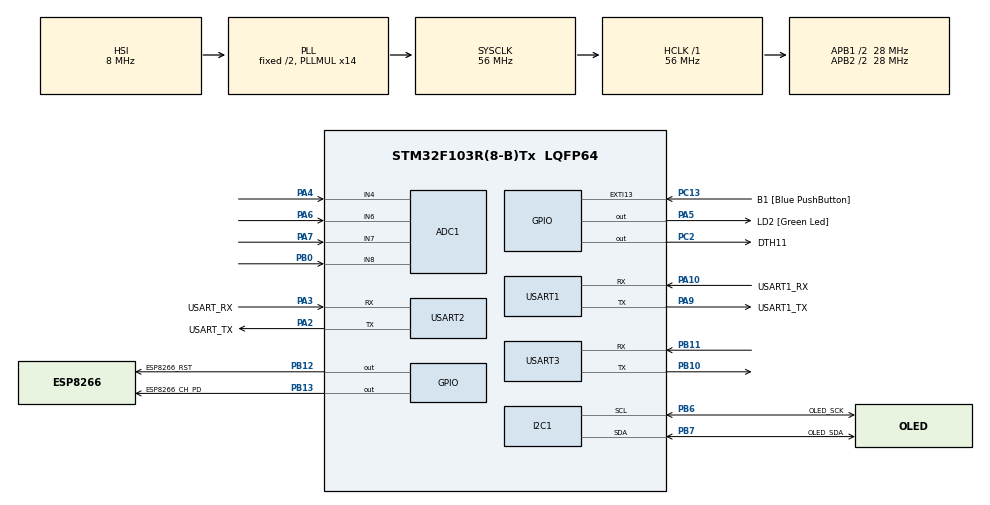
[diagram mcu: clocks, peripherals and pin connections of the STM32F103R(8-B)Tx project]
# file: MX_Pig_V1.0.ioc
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ADC1.Channel-0\#ChannelRegularConversion=ADC_CHANNEL_4
ADC1.Channel-6\#ChannelRegularConversion=ADC_CHANNEL_6
ADC1.Channel-7\#ChannelRegularConversion=ADC_CHANNEL_7
ADC1.Channel-8\#ChannelRegularConversion=ADC_CHANNEL_8
ADC1.Channel-9\#ChannelRegularConversion=ADC_CHANNEL_VREFINT
ADC1.DiscontinuousConvMode=ENABLE
ADC1.NbrOfConversion=5
ADC1.NbrOfConversionFlag=1
ADC1.Rank-6\#ChannelRegularConversion=2
ADC1.Rank-7\#ChannelRegularConversion=3
ADC1.Rank-8\#ChannelRegularConversion=4
ADC1.Rank-9\#ChannelRegularConversion=5
ADC1.SamplingTime-0\#ChannelRegularConversion=ADC_SAMPLETIME_71CYCLES_5
ADC1.SamplingTime-6\#ChannelRegularConversion=ADC_SAMPLETIME_71CYCLES_5
ADC1.SamplingTime-7\#ChannelRegularConversion=ADC_SAMPLETIME_71CYCLES_5
ADC1.SamplingTime-8\#ChannelRegularConversion=ADC_SAMPLETIME_71CYCLES_5
ADC1.SamplingTime-9\#ChannelRegularConversion=ADC_SAMPLETIME_71CYCLES_5
ADC1.master=1
Dma.ADC1.0.Direction=DMA_PERIPH_TO_MEMORY
Dma.ADC1.0.Instance=DMA1_Channel1
Dma.ADC1.0.MemDataAlignment=DMA_MDATAALIGN_HALFWORD
Dma.ADC1.0.MemInc=DMA_MINC_ENABLE
Dma.ADC1.0.Mode=DMA_CIRCULAR
Dma.ADC1.0.PeriphDataAlignment=DMA_PDATAALIGN_HALFWORD
Dma.ADC1.0.PeriphInc=DMA_PINC_DISABLE
Dma.ADC1.0.Priority=DMA_PRIORITY_HIGH
Dma.Request0=ADC1
FREERTOS.MEMORY_ALLOCATION=0
FREERTOS.Tasks01=Null_Task,-2,128,Null_Test_Task,Default,NULL,Dynamic,NULL,NULL
FREERTOS.configMAX_PRIORITIES=18
FREERTOS.configTOTAL_HEAP_SIZE=10240
Mcu.Family=STM32F1
Mcu.Name=STM32F103R(8-B)Tx
Mcu.Package=LQFP64
NVIC.ADC1_2_IRQn=true\:5\:0\:true\:false\:true\:true\:true\:true
NVIC.DMA1_Channel1_IRQn=true\:6\:0\:true\:false\:true\:true\:false\:true
NVIC.EXTI15_10_IRQn=true\:12\:0\:true\:false\:true\:true\:true\:true
NVIC.PriorityGroup=NVIC_PRIORITYGROUP_4
NVIC.TIM1_UP_IRQn=true\:0\:0\:false\:false\:true\:false\:false\:true
NVIC.TIM3_IRQn=true\:5\:0\:false\:false\:true\:true\:true\:true
NVIC.TimeBase=TIM1_UP_IRQn
NVIC.TimeBaseIP=TIM1
NVIC.USART1_IRQn=true\:7\:0\:true\:false\:true\:true\:true\:true
PA10.GPIO_Label=USART1_RX
PA10.Mode=Asynchronous
PA10.Signal=USART1_RX
PA13.GPIO_Label=TMS
PA13.Mode=Serial_Wire
PA13.Signal=SYS_JTMS-SWDIO
PA14.GPIO_Label=TCK
PA14.Mode=Serial_Wire
PA14.Signal=SYS_JTCK-SWCLK
PA2.GPIO_Label=USART_TX
PA2.GPIO_Mode=GPIO_MODE_AF_PP
PA2.GPIO_PuPd=GPIO_NOPULL
PA2.GPIO_Speed=GPIO_SPEED_FREQ_LOW
PA2.Mode=Asynchronous
PA2.Signal=USART2_TX
PA3.GPIO_Label=USART_RX
PA3.GPIO_Mode=GPIO_MODE_AF_PP
PA3.GPIO_PuPd=GPIO_NOPULL
PA3.GPIO_Speed=GPIO_SPEED_FREQ_LOW
PA3.Mode=Asynchronous
PA3.Signal=USART2_RX
PA4.GPIO_Mode=GPIO_MODE_ANALOG
PA4.Signal=ADCx_IN4
PA5.GPIO_Label=LD2 [Green Led]
PA5.GPIO_ModeDefaultOutputPP=GPIO_MODE_OUTPUT_PP
PA5.GPIO_PuPd=GPIO_NOPULL
PA5.GPIO_Speed=GPIO_SPEED_FREQ_LOW
PA5.Signal=GPIO_Output
PA6.GPIO_Mode=GPIO_MODE_ANALOG
PA6.Signal=ADCx_IN6
PA7.GPIO_Mode=GPIO_MODE_ANALOG
PA7.Signal=ADCx_IN7
PA9.GPIO_Label=USART1_TX
PA9.Mode=Asynchronous
PA9.Signal=USART1_TX
PB0.GPIO_Mode=GPIO_MODE_ANALOG
PB0.Signal=ADCx_IN8
PB10.Mode=Asynchronous
PB10.Signal=USART3_TX
PB11.Mode=Asynchronous
PB11.Signal=USART3_RX
PB12.GPIO_Label=ESP8266_RST
PB12.GPIO_PuPd=GPIO_NOPULL
PB12.GPIO_Speed=GPIO_SPEED_FREQ_MEDIUM
PB12.Signal=GPIO_Output
PB13.GPIO_Label=ESP8266_CH_PD
PB13.GPIO_Speed=GPIO_SPEED_FREQ_MEDIUM
PB13.Signal=GPIO_Output
PB3.GPIO_Label=SWO
PB3.Signal=SYS_JTDO-TRACESWO
PB6.GPIO_Label=OLED_SCK
PB6.Mode=I2C
PB6.Signal=I2C1_SCL
PB7.GPIO_Label=OLED_SDA
PB7.Mode=I2C
PB7.Signal=I2C1_SDA
PC13-TAMPER-RTC.GPIO_Label=B1 [Blue PushButton]
PC13-TAMPER-RTC.GPIO_PuPd=GPIO_NOPULL
PC13-TAMPER-RTC.Signal=GPXTI13
PC14-OSC32_IN.Mode=LSE-External-Oscillator
PC14-OSC32_IN.Signal=RCC_OSC32_IN
PC15-OSC32_OUT.Mode=LSE-External-Oscillator
PC15-OSC32_OUT.Signal=RCC_OSC32_OUT
PC2.GPIO_Label=DTH11
PC2.GPIO_Speed=GPIO_SPEED_FREQ_HIGH
PC2.Signal=GPIO_Output
PD0-OSC_IN.Mode=HSE-External-Clock-Source
PD0-OSC_IN.Signal=RCC_OSC_IN
PD1-OSC_OUT.Mode=HSE-External-Clock-Source
PD1-OSC_OUT.Signal=RCC_OSC_OUT
ProjectManager.HeapSize=0x200
ProjectManager.StackSize=0x400
ProjectManager.TargetToolchain=MDK-ARM V5.27
RCC.AHBFreq_Value=56000000
RCC.APB1CLKDivider=RCC_HCLK_DIV2
RCC.APB1Freq_Value=28000000
RCC.APB1TimFreq_Value=56000000
RCC.APB2CLKDivider=RCC_HCLK_DIV2
RCC.APB2Freq_Value=28000000
RCC.APB2TimFreq_Value=56000000
RCC.HCLKFreq_Value=56000000
RCC.PLLMUL=RCC_PLL_MUL14
RCC.RTCClockSelection=RCC_RTCCLKSOURCE_LSE
RCC.SYSCLKFreq_VALUE=56000000
RCC.SYSCLKSource=RCC_SYSCLKSOURCE_PLLCLK
RCC.USBFreq_Value=56000000
SH.ADCx_IN4.0=ADC1_IN4,IN4
SH.ADCx_IN6.0=ADC1_IN6,IN6
SH.ADCx_IN7.0=ADC1_IN7,IN7
SH.ADCx_IN8.0=ADC1_IN8,IN8
TIM3.Period=100-1
TIM3.Prescaler=3600-1
USART1.VirtualMode=VM_ASYNC
USART2.VirtualMode=VM_ASYNC
USART3.VirtualMode=VM_ASYNC
VP_ADC1_Vref_Input.Mode=IN-Vrefint
VP_FREERTOS_VS_CMSIS_V1.Mode=CMSIS_V1
VP_SYS_VS_tim1.Mode=TIM1
VP_TIM3_VS_ClockSourceINT.Mode=Internal
board=NUCLEO-F103RB

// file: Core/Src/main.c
/* USER CODE BEGIN Header */
/**
  ******************************************************************************
  * @file           : main.c
  * @brief          : Main program body
  ******************************************************************************
  * @attention
  *
  * <h2><center>&copy; Copyright (c) 2022 STMicroelectronics.
  * All rights reserved.</center></h2>
  *
  * This software component is licensed by ST under Ultimate Liberty license
  * SLA0044, the "License"; You may not use this file except in compliance with
  * the License. You may obtain a copy of the License at:
  *                             www.st.com/SLA0044
  *
  ******************************************************************************
  */
/* USER CODE END Header */
#include "main.h"
#include "cmsis_os.h"
#include "adc.h"
#include "dma.h"
#include "i2c.h"
#include "tim.h"
#include "usart.h"
#include "gpio.h"

/* USER CODE BEGIN Includes */

/* Hardware-related header files */

/* Includes redirection for serial port 3 and imitation redirection functions for serial port 1  */
#include "UART_Printf.h"
/* ADC initialization and single scan operation */
#include "ADC_Operation.h"
/* Including ESP8266 initialization and AT-TCP, AT-MQTT instruction send and receive operation functions */
#include "ESP8266.h"
/* This includes the use of hardware IIC to connect the OLED screen for initialization, display characters, and string functions */
#include "OLED.h"
/* Through software operation GPIO and DTH11 for single-bus communication, initialization, data reading, etc */
#include "DTH11.h"
/* Control the buzzer tick and LED2 blink */
#include "BUZZER.h"

/* Header files associated with tasks and task operations */

/* OLED displays the value obtained by the sensor in real time */
#include "Display_Data_Task.h"
/* Obtain internal reference voltage and gas concentration collected by ADC and temperature and humidity data collected by DTH11 */
#include "Get_Sensor_Task.h"
/* Connect to Ali Cloud Iot platform by operating ESP8266 via AT command */
#include "Connect_Iot_Task.h"

/* USER CODE END Includes */

/* USER CODE BEGIN PM */

/*
	Select whether to use external modules : Used during program debugging
	Make sure there is no problem with the external circuit and components, all one
*/
#define USE_ESP8266 	1
#define USE_OLED     	1
#define USE_DTH11     	0

/* USER CODE END PM */

/* USER CODE BEGIN PV */

/* Whether the device is successfully connected to alibaba Cloud Iot platform: it is determined that
   the device is operated independently and the data is displayed locally; Or upload the data to the cloud
*/
uint8_t is_connect_iot = 0;

/* USER CODE END PV */

void SystemClock_Config(void);
void MX_FREERTOS_Init(void);

int main(void)
{
  /* USER CODE BEGIN 1 */
	uint8_t ret = (uint8_t)OPERATION_SUCCESS;
  /* USER CODE END 1 */

  /* MCU Configuration--------------------------------------------------------*/

  /* Reset of all peripherals, Initializes the Flash interface and the Systick. */
  HAL_Init();

  /* Configure the system clock */
  SystemClock_Config();

  /* Initialize all configured peripherals */
  MX_GPIO_Init();
  MX_DMA_Init();
  MX_USART2_UART_Init();
  MX_USART1_UART_Init();
  MX_USART3_UART_Init();
  MX_ADC1_Init();
  MX_TIM3_Init();
  MX_I2C1_Init();
  /* USER CODE BEGIN 2 */

  /*-----------------------Initialization of chip peripherals and basic functions - start--------------------------*/

  /* Operations related to peripherals after initialization  */
  ret = BSP_Init();
  if(ret!=(int32_t)OPERATION_SUCCESS)
  {
	  Display_Operation_Status("BSP init :" ,ret);
  }
  Display_Operation_Status("BSP init :" ,ret);
  HAL_Delay(1000);
  OLED_CLS();

  OLED_ShowStr(20, 0, "start connect iot", 1);
  OLED_ShowStr(2, 2, "please wait 10s", 1);

  ret = Connct_aliyun_iot();
  if(ret!=(int32_t)OPERATION_SUCCESS)
  {
	  Display_Operation_Status("Connect iot platform :" ,ret);
  }
  /* If the connection to the cloud platform is successful, start the online mode */
  if(ret==(int32_t)OPERATION_SUCCESS)is_connect_iot = 1;

  Display_Operation_Status("Connect iot platform :" ,ret);
  HAL_Delay(1000);
  OLED_CLS();

  OLED_ShowStr(2, 2, "Start single-machine mode", 1);
  HAL_Delay(1000);
  OLED_CLS();
  /*-----------------------Initialization of chip peripherals and basic functions - finish--------------------------*/
  /* USER CODE END 2 */

  /* Call init function for freertos objects (in freertos.c) */
  MX_FREERTOS_Init();
  /* Start scheduler */
  osKernelStart();

  /* We should never get here as control is now taken by the scheduler */
  /* Infinite loop */
  while (1)
  {

  }
}

void SystemClock_Config(void)
{
  RCC_OscInitTypeDef RCC_OscInitStruct = {0};
  RCC_ClkInitTypeDef RCC_ClkInitStruct = {0};
  RCC_PeriphCLKInitTypeDef PeriphClkInit = {0};

  /** Initializes the RCC Oscillators according to the specified parameters
  * in the RCC_OscInitTypeDef structure.
  */
  RCC_OscInitStruct.OscillatorType = RCC_OSCILLATORTYPE_HSI;
  RCC_OscInitStruct.HSIState = RCC_HSI_ON;
  RCC_OscInitStruct.HSICalibrationValue = RCC_HSICALIBRATION_DEFAULT;
  RCC_OscInitStruct.PLL.PLLState = RCC_PLL_ON;
  RCC_OscInitStruct.PLL.PLLSource = RCC_PLLSOURCE_HSI_DIV2;
  RCC_OscInitStruct.PLL.PLLMUL = RCC_PLL_MUL14;
  if (HAL_RCC_OscConfig(&RCC_OscInitStruct) != HAL_OK)
  {
    Error_Handler();
  }
  /** Initializes the CPU, AHB and APB buses clocks
  */
  RCC_ClkInitStruct.ClockType = RCC_CLOCKTYPE_HCLK|RCC_CLOCKTYPE_SYSCLK
                              |RCC_CLOCKTYPE_PCLK1|RCC_CLOCKTYPE_PCLK2;
  RCC_ClkInitStruct.SYSCLKSource = RCC_SYSCLKSOURCE_PLLCLK;
  RCC_ClkInitStruct.AHBCLKDivider = RCC_SYSCLK_DIV1;
  RCC_ClkInitStruct.APB1CLKDivider = RCC_HCLK_DIV2;
  RCC_ClkInitStruct.APB2CLKDivider = RCC_HCLK_DIV2;

  if (HAL_RCC_ClockConfig(&RCC_ClkInitStruct, FLASH_LATENCY_2) != HAL_OK)
  {
    Error_Handler();
  }
  PeriphClkInit.PeriphClockSelection = RCC_PERIPHCLK_ADC;
  PeriphClkInit.AdcClockSelection = RCC_ADCPCLK2_DIV2;
  if (HAL_RCCEx_PeriphCLKConfig(&PeriphClkInit) != HAL_OK)
  {
    Error_Handler();
  }
}

/* USER CODE BEGIN 4 */

/**
* @description: Operations related to peripherals after initialization
*               include:
* 				ADC calibration
*               LED Blink
*				CMD UART1_IT
*
*
* @param {void}
* @return {int} ret: if BSP init success , return OPERATION_SUCCESS
* @author: leeqingshui
*/
int32_t BSP_Init(void)
{
	static int32_t ret= (int32_t)OPERATION_SUCCESS;

	/* ----------------------------LED Operation------------------------- */
	/* Led blinks 5 times and buzzer work : BSP initialization is start */
	for(int i=0;i<10;i++)
	{
		HAL_GPIO_TogglePin(LD2_GPIO_Port,LD2_Pin);
		HAL_Delay(50);
	}
	printf("LED init success\r\n");

	#if USE_OLED
	/* ----------------------------OLED Operation----------------------- */
	/* The OLED screen is initialized */
	if (OLED_Init() != (uint8_t)OPERATION_SUCCESS)
	{
		printf("OLED init fail\r\n");
		Error_Handler();
		ret= (int32_t)OPERATION_ERROR;
	}

	printf("OLED init success\r\n");
	/* The OLED screen prompts initialization to begin */
	OLED_ShowStr(30, 0, "start BSP init", 1);
	OLED_ShowStr(5, 1, "OLED init success", 1);

	#endif

	/* ----------------------------ADC1 Operation------------------------- */

	/* Start ADC conversion on regular group with transfer by DMA */
	if ((ADC_GetGas_Init()) != (uint8_t)OPERATION_SUCCESS)
	{
		printf("ADC init fail\r\n");
		OLED_ShowStr(5, 2, "ADC init fail", 1);
		/* Start Error */
		Error_Handler();
		ret= (int32_t)OPERATION_ERROR;
	}

	printf("ADC init success\r\n");
	OLED_ShowStr(5, 2, "ADC init success", 1);

	#if USE_ESP8266
	/* ----------------------------ESP8266 Operation----------------------- */
	/* ESP8266 initialization */
	if (ESP8266_Init() != (uint8_t)OPERATION_SUCCESS)
	{
		printf("ESP8266 init fail\r\n");

		OLED_ShowStr(5, 3, "esp8266 init fail", 1);

		Error_Handler();
		ret= (int32_t)OPERATION_ERROR;
	}
	printf("ESP8266 init success\r\n");
	OLED_ShowStr(5, 3, "esp8266 init success", 1);

	#endif

	#if USE_DTH11
	/* ----------------------------DTH11 Operation----------------------- */
	if (DHT11_Init() != (uint8_t)OPERATION_SUCCESS)
	{
		printf("DTH11 init fail\r\n");
		OLED_ShowStr(5, 4, "DTH11 init fail", 1);

		Error_Handler();
		ret= (int32_t)OPERATION_ERROR;
	}
	printf("DTH11 init success\r\n");

	OLED_ShowStr(5, 4, "DTH11 init success", 1);

	#else
	DHT11_Init();
	printf("DTH11 init success\r\n");
	OLED_ShowStr(5, 4, "DTH11 init success", 1);
	OLED_CLS();

	#endif

	/*
	LED2 When the blinking interval and the buzzer work for five times, it indicates that the operation starts
	Indicates that the initialization of the peripheral is successful
	*/
	Buzzer_Work(10,(uint8_t)300);

    return ret;
}

/* USER CODE END 4 */

 /**
  * @brief  Period elapsed callback in non blocking mode
  * @note   This function is called  when TIM1 interrupt took place, inside
  * HAL_TIM_IRQHandler(). It makes a direct call to HAL_IncTick() to increment
  * a global variable "uwTick" used as application time base.
  * @param  htim : TIM handle
  * @retval None
  */
void HAL_TIM_PeriodElapsedCallback(TIM_HandleTypeDef *htim)
{
  /* USER CODE BEGIN Callback 0 */

  if (htim->Instance == TIM3)
  {

  }

  /* USER CODE END Callback 0 */
  if (htim->Instance == TIM1) {
    HAL_IncTick();
  }
}

void Error_Handler(void)
{
  /* USER CODE BEGIN Error_Handler_Debug */
  /* User can add his own implementation to report the HAL error return state */
  while (1)
  {
	  Buzzer_Work(10,(uint8_t)700);
	  Buzzer_Work(10,(uint8_t)2000);
  }
  /* USER CODE END Error_Handler_Debug */
}

/************************ (C) COPYRIGHT STMicroelectronics *****END OF FILE****/

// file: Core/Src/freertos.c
/* USER CODE BEGIN Header */
/**
  ******************************************************************************
  * File Name          : freertos.c
  * Description        : Code for freertos applications
  ******************************************************************************
  * @attention
  *
  * <h2><center>&copy; Copyright (c) 2022 STMicroelectronics.
  * All rights reserved.</center></h2>
  *
  * This software component is licensed by ST under Ultimate Liberty license
  * SLA0044, the "License"; You may not use this file except in compliance with
  * the License. You may obtain a copy of the License at:
  *                             www.st.com/SLA0044
  *
  *	This part mainly includes four tasks:
  *
  *	Sensor information collection task (Get_Sensor_Task) - Collects temperature and humidity information, ammonia concentration,
  *	hydrogen sulfide concentration, ozone concentration, and carbon monoxide concentration. The following peripherals are used:
  *	ADC.C /. H and DTH11. C /. H, and send data to Sensor_Data_Queue message queue
  *
  * OLED display task (Display_Data_Task) : Display and update the collected sensor information and network connection data on
  *	the OLED screen. The data comes from two message queues, Internet_Status_Queue and Sensor_Data_Queue. The main peripherals used
  *	include: 1.3-inch OLED display, relevant driver layer file in OLed.c /.h
  *
  *	Connect and upload cloud platform task (Connect_Iot_Task) - Use ESP8266 to send the collected data to Ali Cloud Iot platform
  *	through at-MQTT instruction. The main peripherals used include: ESP8266 WIFI module, related driver code in eps8266. c/. H,
  *	uart_printf. c/. H two files, data from Sensor_Data_Queue message queue
  *
  *	Start Task (AppTaskCreate) - Create task and message queue
  ******************************************************************************
  */
/* USER CODE END Header */

#include "FreeRTOS.h"
#include "task.h"
#include "main.h"
#include "cmsis_os.h"

/* USER CODE BEGIN Includes */
/* The basic function used by the task */
#include "Display_Data_Task.h"
#include "Get_Sensor_Task.h"
#include "Connect_Iot_Task.h"
/* USER CODE END Includes */

/* USER CODE BEGIN PM */

/* A message queue for receiving and sending sensor data */
/* Queue length: The maximum number of messages that the queue can contain */
#define  SENSOR_QUEUE_LEN    	1
/* Message size: The size of each message in the queue, and the number of bytes for the corresponding data type of the message */
#define  SENSOR_QUEUE_SIZE   	sizeof(SENSOR_Information_Struct)
/* A message queue for receiving and sending network connection status */
#define  INTERNET_QUEUE_LEN    	1
#define  INTERNET_QUEUE_SIZE   	sizeof(Internat_Connect_Information_Struct)

/* USER CODE END PM */

/* USER CODE BEGIN Variables */

/* Whether the device is successfully connected to alibaba Cloud Iot platform: it is determined that
   the device is operated independently and the data is displayed locally; Or upload the data to the cloud
*/
extern uint8_t is_connect_iot;

/*--------------------------Task handle declaration---------------------------*/

/* handle to Create tasks, and tasks for kernel objects */
osThreadId AppTaskCreate_Handle = NULL;
/* handle to Displays the data task */
osThreadId DisplayTask_TaskHandle = NULL;
/* handle to get sensor data task */
osThreadId GetSensorDataTask_TaskHandle = NULL;
/* handle to  connect iot task */
osThreadId ConnectIotTask_TaskHandle = NULL;

/*----------------------Message queue handle declaration----------------------*/

/* Handle to the gas sensor data message queue */
QueueHandle_t Sensor_Data_Queue =NULL;
/* Handle to the network status message queue */
QueueHandle_t Internet_Status_Queue =NULL;

/* USER CODE END Variables */
osThreadId Null_TaskHandle;

/* USER CODE BEGIN FunctionPrototypes */

/*----------------------------User task function------------------------------*/

/* Create tasks, and tasks for kernel objects */
static void AppTaskCreate(void);
/* connect iot task function */
extern void Connect_Iot_Task(void* parameter);
/* get sensor data task function */
extern void Get_Sensor_Task(void* parameter);
/* Displays the data task function */
extern void Display_Data_Task(void* parameter);

/* USER CODE END FunctionPrototypes */

void Null_Test_Task(void const * argument);

void MX_FREERTOS_Init(void); /* (MISRA C 2004 rule 8.1) */

void MX_FREERTOS_Init(void) {
  /* USER CODE BEGIN Init */

   /* Define a create message return quantity */
   BaseType_t xReturn = pdPASS;
  /* USER CODE END Init */

  /* Create the thread(s) */
  /* definition and creation of Null_Task */
  osThreadDef(Null_Task, Null_Test_Task, osPriorityLow, 0, 128);
  Null_TaskHandle = osThreadCreate(osThread(Null_Task), NULL);

  /* USER CODE BEGIN RTOS_THREADS */

   /* This task is automatically destroyed after it is created and other tasks are completed */
	xReturn = xTaskCreate((TaskFunction_t )AppTaskCreate,
						 (const char*    )"AppTaskCreate",
						 (uint16_t       )512,
					 	 (void*          )NULL,
						 (UBaseType_t    )1,
						 (TaskHandle_t*  )&AppTaskCreate_Handle);

    if(pdPASS == xReturn)
		printf("create appcreate task success\r\n");
   /* add threads, ... */
  /* USER CODE END RTOS_THREADS */

}

void Null_Test_Task(void const * argument)
{
  for(;;)
  {
    osDelay(1);
  }
}

/* USER CODE BEGIN Application */

/**
* @description: This task is automatically destroyed after it is created and other tasks are completed
* @param  {void*  }
* @return {void   }
* @author: leeqingshui
*/
static void AppTaskCreate(void)
{
  BaseType_t xReturn = pdPASS;

  /* Entry critical region */
  taskENTER_CRITICAL();

  /*
	If the cloud platform is successfully connected, create a task to connect to the cloud platform.
	Otherwise, the standalone mode will be started and the data will be displayed on the local OLED screen
  */
  if(is_connect_iot)
  {
  /* Create Connect_Iot_Task task

	 BaseType_t xTaskCreate(
							TaskFunction_t pxTaskCode,            // Task entry function
							const char * const pcName,            // The task name
							const uint16_t usStackDepth,          // Task stack size
							void * const pvParameters,            // Task entry function parameters
							UBaseType_t uxPriority,       		  // Task priority
							TaskHandle_t * const pxCreatedTask    // Task control block pointer
						   )
  */
  xReturn = xTaskCreate((TaskFunction_t )Connect_Iot_Task,
                        (const char*    )"Connect_Iot_Task",
                        (uint16_t       )512,
                        (void*          )NULL,
                        (UBaseType_t    )2,
                        (TaskHandle_t*  )&ConnectIotTask_TaskHandle);
  if(pdPASS == xReturn)
    printf("create connect iot task success \r\n");
  }

  /* Create Get_Sensor_Task task */
  xReturn = xTaskCreate((TaskFunction_t )Get_Sensor_Task,
                        (const char*    )"Get_Sensor_Task",
                        (uint16_t       )512,
                        (void*          )NULL,
                        (UBaseType_t    )2,
                        (TaskHandle_t*  )&GetSensorDataTask_TaskHandle);
  if(pdPASS == xReturn)
    printf("create get sensor data task success\r\n");

  /* Create Display_Data_Task task */
  xReturn = xTaskCreate((TaskFunction_t )Display_Data_Task,
                        (const char*    )"Display_Data_Task",
                        (uint16_t       )1024,
                        (void*          )NULL,
                        (UBaseType_t    )3,
                        (TaskHandle_t*  )&DisplayTask_TaskHandle);
  if(pdPASS == xReturn)
    printf("create get sensor data task success\r\n");

  /* Create a message queue that delivers sensor data */
  Sensor_Data_Queue = xQueueCreate((UBaseType_t ) SENSOR_QUEUE_LEN,
                                   (UBaseType_t ) SENSOR_QUEUE_SIZE);
  if(NULL != Sensor_Data_Queue)
    printf("Succeeded in creating the sensor data message queue\r\n");

  /*
	If the cloud platform is successfully connected, create a task to connect to the cloud platform.
	Otherwise, the standalone mode will be started and the data will be displayed on the local OLED screen
  */
  if(is_connect_iot)
  {
  /* Create a message queue that delivers network connection status */
  Internet_Status_Queue = xQueueCreate((UBaseType_t ) INTERNET_QUEUE_LEN,
                                       (UBaseType_t ) INTERNET_QUEUE_SIZE);
  if(NULL != Internet_Status_Queue)
    printf("Succeeded in creating the internet status message queue\r\n");
  }

  /* Create and delete yourself after completing other tasks */
  vTaskDelete(AppTaskCreate_Handle);

  /* Exit critical region */
  taskEXIT_CRITICAL();
}

/* USER CODE END Application */

/************************ (C) COPYRIGHT STMicroelectronics *****END OF FILE****/
